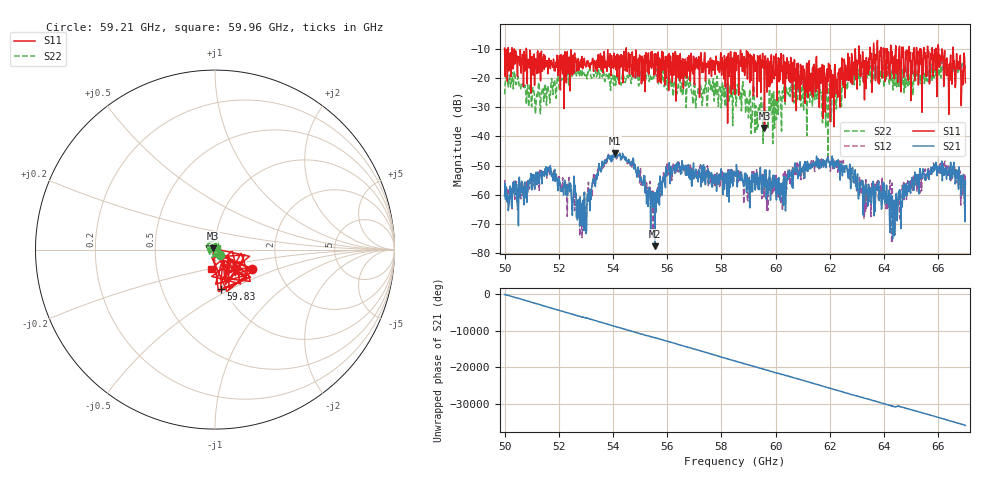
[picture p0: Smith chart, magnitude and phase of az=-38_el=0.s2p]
!Created with skrf (http://scikit-rf.org).
# GHz S RI R 50.0
!freq ReS11 ImS11 ReS21 ImS21 ReS12 ImS12 ReS22 ImS22
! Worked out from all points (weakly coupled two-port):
!   1001 points, 50 GHz to 67 GHz, reference 50 ohm
!   highest |S21| = -45.66 dB at 54.06 GHz (marker M1); lowest = -77.7 dB at 55.54 GHz (marker M2)
!   lowest |S11| = -37.1 dB at 59.59 GHz (marker M3), VSWR 1.03, Z = 48.8 + j0.634 ohm
!   |S11| at or under -10 dB: 50.8 GHz to 54.49 GHz (3.685 GHz wide, 7 % of centre); 54.49 GHz to 62.94 GHz (8.447 GHz wide, 14.4 % of centre); 66.01 GHz to 66.54 GHz (529.1 MHz wide, 0.798 % of centre) (the widest 3 of 29)
!   |S22| runs from -48.1 to -14.1 dB; largest |S21 - S12| = 0.0021
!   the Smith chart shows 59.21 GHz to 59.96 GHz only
!   S11 on the Smith chart (normalised r, x): 59.21 GHz: 1.47, -0.34; 59.83 GHz: 0.96, -0.45; 59.96 GHz: 0.93, -0.21
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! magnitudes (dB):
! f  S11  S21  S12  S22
! 50 GHz  -9.8  -60.3  -55.0  -25.6
! 51.62 GHz  -15.8  -50.6  -51.9  -24.2
! 52.84 GHz  -13.5  -68.8  -66.6  -19.7
! 54.06 GHz  -16.1  -45.7  -47.0  -18.7
! 54.74 GHz  -19.6  -47.4  -48.5  -18.6
! 55.54 GHz  -16.0  -77.7  -61.9  -18.9
! 55.68 GHz  -13.6  -61.2  -56.3  -22.0
! 56.36 GHz  -14.6  -51.4  -50.3  -25.4
! 58.5 GHz  -25.7  -53.3  -52.8  -23.8
! 59.03 GHz  -14.7  -59.2  -54.0  -26.8
! 59.21 GHz  -12.7  -55.7  -53.7  -27.7
! 59.59 GHz  -37.1  -57.4  -51.7  -30.9
! 59.83 GHz  -13.1  -55.5  -54.8  -30.8
! 59.96 GHz  -19.0  -54.0  -55.3  -37.2
! 61.34 GHz  -25.5  -49.1  -50.5  -26.7
! 62 GHz  -15.6  -50.5  -48.7  -24.0
! 62.6 GHz  -19.0  -50.6  -51.5  -19.1
! 63.26 GHz  -14.1  -57.1  -68.2  -18.1
! 64.18 GHz  -18.2  -58.5  -63.1  -18.8
! 64.53 GHz  -17.1  -59.1  -63.8  -22.8
! 65.84 GHz  -14.2  -49.8  -50.3  -20.0
! 67 GHz  -21.6  -55.0  -56.7  -15.9
